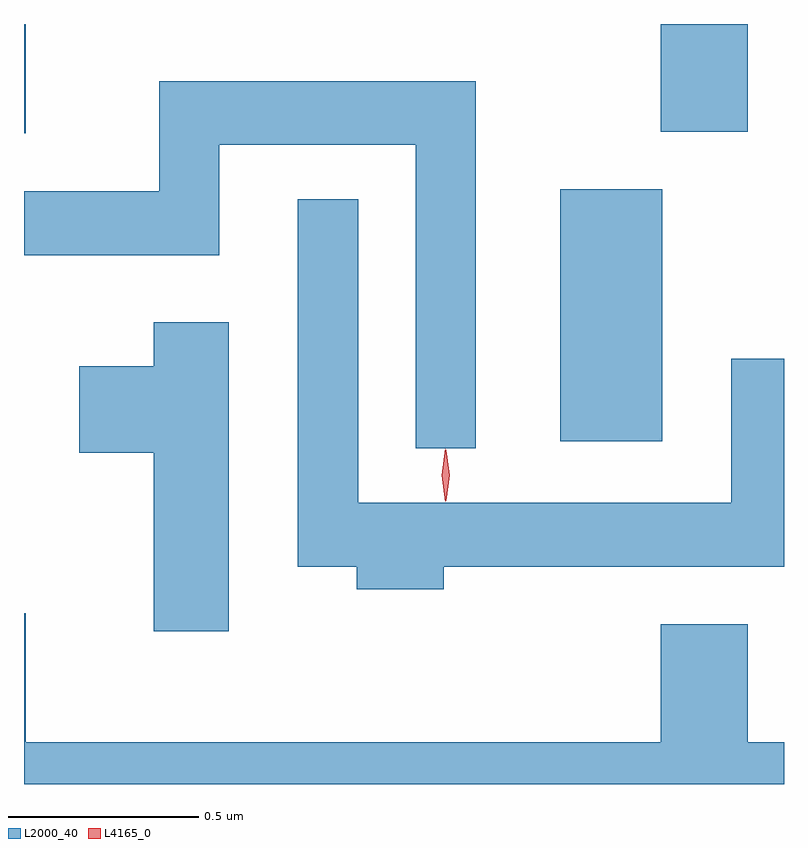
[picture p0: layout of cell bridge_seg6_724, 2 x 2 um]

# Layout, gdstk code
import gdstk
lib = gdstk.Library(unit=1e-6, precision=1e-09)
def R(c, l, rs):  # rectangles x0, y0, x1, y1
    for r in rs: c.add(gdstk.rectangle(r[:2], r[2:], *l))
def P(c, l, *ps):  # polygons
    for p in ps: c.add(gdstk.Polygon(p, *l))
L2000_40 = (2000, 40)
L4165_0 = (4165, 0)

bridge_seg6_724 = lib.new_cell('bridge_seg6_724')
R(bridge_seg6_724, L2000_40, [(311.456,1571.076,311.724,1571.739), (310.045,1571.886,310.049,1572.174), (311.721,1571.891,311.949,1572.174)])
P(bridge_seg6_724, L2000_40, [(311.234,1572.024),(310.401,1572.024),(310.401,1571.734),(310.045,1571.734),(310.045,1571.566),(310.559,1571.566),(310.559,1571.856),(311.076,1571.856),(311.076,1571.058),(311.234,1571.058)],
  [(311.149,1570.746),(312.045,1570.746),(312.045,1571.293),(311.906,1571.293),(311.906,1570.914),(310.924,1570.914),(310.924,1571.713),(310.766,1571.713),(310.766,1570.746),(310.921,1570.746),(310.921,1570.686),(311.149,1570.686)],
  [(310.584,1571.389),(310.386,1571.389),(310.386,1571.274),(310.191,1571.274),(310.191,1571.046),(310.386,1571.046),(310.386,1570.576),(310.584,1570.576)],
  [(312.045,1570.284),(311.949,1570.284),(311.949,1570.594),(311.721,1570.594),(311.721,1570.284),(310.049,1570.284),(310.049,1570.624),(310.045,1570.624),(310.045,1570.174),(312.045,1570.174)])
P(bridge_seg6_724, L4165_0, [(311.153,1570.917),(311.144,1570.987),(311.153,1571.056),(311.154,1571.056),(311.154,1571.056),(311.163,1570.987),(311.154,1570.917),(311.154,1570.917)],
  [(311.156,1570.919),(311.155,1570.92),(311.146,1570.986),(311.155,1571.052),(311.156,1571.053),(311.156,1571.052),(311.166,1570.986),(311.156,1570.92)])

lib.write_gds('bridge_seg6_724.gds')
